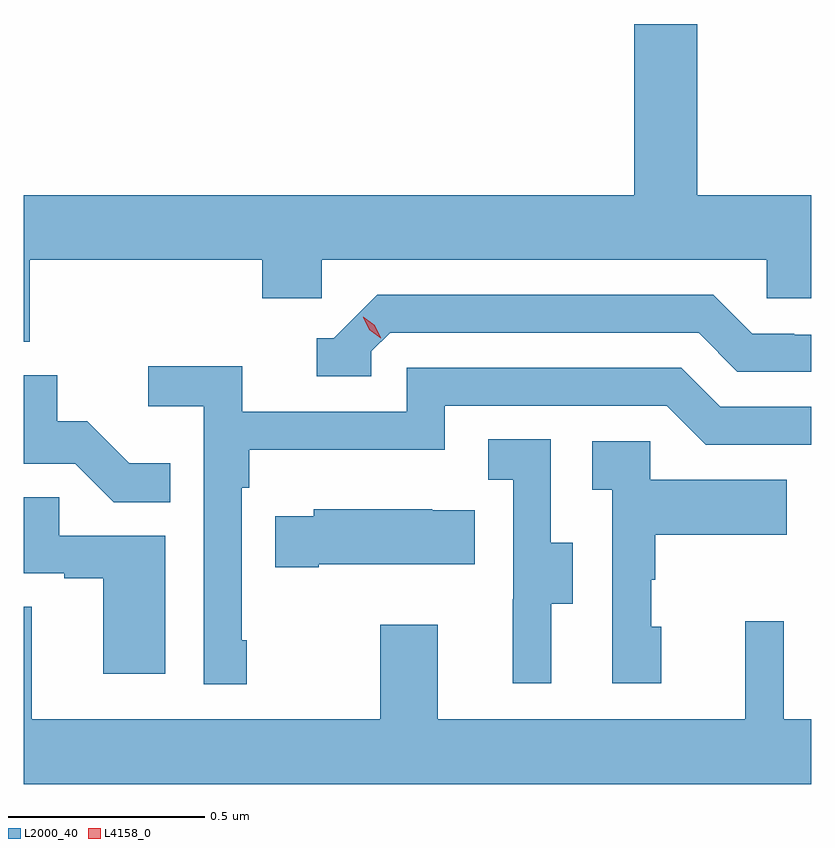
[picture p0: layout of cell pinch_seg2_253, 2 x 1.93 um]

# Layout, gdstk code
import gdstk
lib = gdstk.Library(unit=1e-6, precision=1e-09)
def P(c, l, *ps):  # polygons
    for p in ps: c.add(gdstk.Polygon(p, *l))
L2000_40 = (2000, 40)
L4158_0 = (4158, 0)

pinch_seg2_253 = lib.new_cell('pinch_seg2_253')
P(pinch_seg2_253, L2000_40, [(938.606,655.628),(939.197,655.628),(939.197,655.53),(939.348,655.53),(939.348,655.628),(940.479,655.628),(940.479,655.53),(940.591,655.53),(940.591,655.792),(940.302,655.792),(940.302,656.227),(940.142,656.227),(940.142,655.792),(938.591,655.792),(938.591,655.42),(938.606,655.42)],
  [(939.474,655.395),(939.522,655.443),(940.305,655.443),(940.404,655.344),(940.591,655.344),(940.591,655.437),(940.548,655.437),(940.548,655.44),(940.441,655.44),(940.342,655.539),(939.489,655.539),(939.378,655.428),(939.335,655.428),(939.335,655.332),(939.474,655.332)],
  [(939.157,654.661),(939.144,654.661),(939.144,655.049),(939.164,655.049),(939.164,655.145),(939.66,655.145),(939.66,655.257),(940.224,655.257),(940.323,655.158),(940.591,655.158),(940.591,655.254),(940.36,655.254),(940.261,655.353),(939.564,655.353),(939.564,655.242),(939.146,655.242),(939.146,655.358),(938.907,655.358),(938.907,655.256),(939.048,655.256),(939.048,654.549),(939.157,654.549)],
  [(938.963,655.111),(938.859,655.111),(938.752,655.218),(938.676,655.218),(938.676,655.335),(938.591,655.335),(938.591,655.11),(938.721,655.11),(938.819,655.012),(938.963,655.012)],
  [(939.931,654.754),(939.985,654.754),(939.985,654.909),(939.93,654.909),(939.93,655.172),(939.771,655.172),(939.771,655.069),(939.834,655.069),(939.834,654.765),(939.833,654.765),(939.833,654.552),(939.931,654.552)],
  [(940.21,654.696),(940.185,654.696),(940.185,654.815),(940.195,654.815),(940.195,654.929),(940.529,654.929),(940.529,655.069),(940.182,655.069),(940.182,655.167),(940.035,655.167),(940.035,655.043),(940.086,655.043),(940.086,654.552),(940.21,654.552)],
  [(938.95,654.927),(938.681,654.927),(938.681,655.025),(938.591,655.025),(938.591,654.831),(938.693,654.831),(938.693,654.819),(938.792,654.819),(938.792,654.576),(938.95,654.576)],
  [(939.34,654.854),(939.737,654.854),(939.737,654.991),(939.629,654.991),(939.629,654.994),(939.327,654.994),(939.327,654.976),(939.229,654.976),(939.229,654.847),(939.34,654.847)],
  [(940.591,654.46),(940.521,654.46),(940.521,654.709),(940.424,654.709),(940.424,654.46),(939.643,654.46),(939.643,654.7),(939.496,654.7),(939.496,654.46),(938.611,654.46),(938.611,654.746),(938.591,654.746),(938.591,654.296),(940.591,654.296)])
P(pinch_seg2_253, L4158_0, [(939.498,655.429),(939.468,655.45),(939.453,655.482),(939.453,655.483),(939.453,655.483),(939.483,655.462),(939.498,655.43),(939.498,655.429)])

lib.write_gds('pinch_seg2_253.gds')
